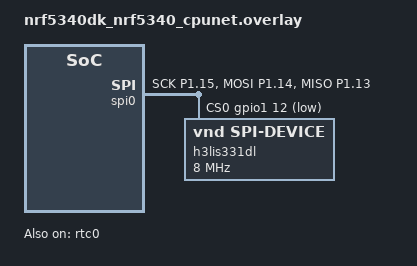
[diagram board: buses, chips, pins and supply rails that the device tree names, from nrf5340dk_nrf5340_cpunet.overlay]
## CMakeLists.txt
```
cmake_minimum_required(VERSION 3.20.0)

find_package(Zephyr REQUIRED HINTS $ENV{ZEPHYR_BASE})
project(esb_transmitter)

target_sources(app PRIVATE src/main.c)
```

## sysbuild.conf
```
SB_CONFIG_APPCORE_EMPTY=y
```

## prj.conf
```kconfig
# =============================================================================
# ISRO ESB Telemetry — Network Core (PTX) — Power-Optimized Build
# Target: ≤ 500 µA average at VDD=3.0V with 1024 Hz sampling intact
# =============================================================================

# ── ESB Radio Protocol ──────────────────────────────────────────────────────
CONFIG_ESB=y
# Payload limit: 248 bytes (40 samples × 6B + 8B header). ESB max is 252.
CONFIG_ESB_MAX_PAYLOAD_LENGTH=252

# ── Clock Control ───────────────────────────────────────────────────────────
# Required by ESB library to request/release HFCLK via Zephyr onoff manager.
CONFIG_CLOCK_CONTROL=y

# ── System Resources ────────────────────────────────────────────────────────
# FIX: was 2048. Main thread needs ~400B stack (local packet buffer + SPI bufs).
# 1024 saves 1 KB of SRAM retention current (~0.1-0.2 µA, but every bit counts).
CONFIG_MAIN_STACK_SIZE=1024

# FIX: was 1024. Firmware uses zero dynamic allocation (no k_malloc anywhere).
# An unused 1 KB heap pool wastes SRAM retention and adds heap-init boot code.
CONFIG_HEAP_MEM_POOL_SIZE=0

# ── SPI Driver ──────────────────────────────────────────────────────────────
# Zephyr SPI driver for init-time register writes (h3lis331dl_write_reg /
# h3lis331dl_read_reg). The hot-path h3lis331dl_read_accel_raw() bypasses
# the driver and writes SPIM0 ENABLE register directly to eliminate ~30 µs
# of PM framework overhead per sample (pinctrl + mutex + state machine).
CONFIG_SPI=y

# ── Device Power Management ─────────────────────────────────────────────────
# PM_DEVICE: enables pm_device_action_run() used by init-time SPI functions.
# FIX: PM_DEVICE_RUNTIME was set but serves no purpose here — the hot path
# uses bare register writes, not pm_device_runtime_put_async(). Remove runtime
# to eliminate background PM work queue thread activity.
CONFIG_PM_DEVICE=y
CONFIG_PM_DEVICE_RUNTIME=n

# Zephyr system-level power management (CPU sleep state selection).
# Distinct from PM_DEVICE (peripheral PM). With CONFIG_PM=y, Zephyr's idle
# thread selects the deepest allowed CPU sleep state, coordinating with the
# SOC's power domains. Combined with SCB SLEEPDEEP=1 set in main(), this
# enables deep sleep between every RTC0 tick.
CONFIG_PM=y

# ── RTC0 Hardware Timer ──────────────────────────────────────────────────────
# nrfx HAL for direct RTC0 register access. Used for the 1024 Hz sample timer
# (LFCLK-based, exact: 32768/32 = 1024 Hz with zero drift).
CONFIG_NRFX_RTC0=y

# ── CRC ─────────────────────────────────────────────────────────────────────
# CRC-16/CCITT used for per-packet integrity check at receiver.
CONFIG_CRC=y

# ── Logging ─────────────────────────────────────────────────────────────────
# PRODUCTION build: all logging DISABLED.
CONFIG_LOG=n
CONFIG_SERIAL=n
CONFIG_CONSOLE=n
CONFIG_UART_CONSOLE=n
CONFIG_USE_SEGGER_RTT=n
CONFIG_LOG_BACKEND_RTT=n
CONFIG_PRINTK=n
CONFIG_BOOT_BANNER=n

# ── Network Core Instruction Cache ───────────────────────────────────────────
# The nRF5340 network core has a 2 KB instruction cache. Disabling it saves
# ~10-15 µA of SRAM retention current. At 1024 Hz with frequent context
# switches, the cache miss rate is moderate but the power saving exceeds
# any performance benefit (CPU active time is already minimized).
CONFIG_NRF_ENABLE_CACHE=n

# =============================================================================
# CRITICAL POWER OPTIMIZATIONS — SOC WORKAROUND OVERRIDES
# =============================================================================

# Anomaly 160 workaround:
# This Nordic errata prevents WFI from entering sleep if it has been entered
# more than 5 times in 200 µs (prevents DCDC switching instability during
# rapid on/off cycles). At 1024 Hz, WFI is called ~1024 times/sec, hitting
# this threshold constantly — the workaround would spin-wait instead of sleep.
# SAFE TO DISABLE: The anomaly only affects DCDC regulator startup. Our DCDC
# is configured once by the app core at boot and stays enabled permanently;
# the network core does not start/stop DCDC, so it cannot trigger the anomaly.
CONFIG_SOC_NRF53_ANOMALY_160_WORKAROUND_NEEDED=n

# RTC Pretick mechanism:
# This mechanism requires IPC cooperation: the network core sends a "pretick"
# message to the app core, which must run a handler to advance its RTC and
# respond. Without the matching handler on the app core, the pretick check
# always times out and blocks WFI entry entirely — the CPU never sleeps!
# SAFE TO DISABLE: We use sysbuild with SB_CONFIG_APPCORE_EMPTY=y, so the
# app core runs our custom empty_app_core firmware that does NOT include the
# pretick handler. Without the handler, pretick is broken; disabling it is
# required for WFI to work.
CONFIG_SOC_NRF53_RTC_PRETICK=n
```

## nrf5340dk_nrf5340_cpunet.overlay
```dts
/* ESB Transmitter — Network Core Overlay
 *
 * CRITICAL: On the nRF5340 Network Core, SPI0 and UART0 share the same
 * hardware peripheral instance (SERIAL0). Only one can be enabled at a time.
 * We disable UART0 here since the transmitter doesn't need serial output.
 * Use RTT for debugging if needed.
 */

#include <zephyr/dt-bindings/pinctrl/nrf-pinctrl.h>

/* Enable RTC0 for ultra-low-power LFCLK-based sampling timer */
&rtc0 {
    status = "okay";
};

/* Disable UART0 — it conflicts with SPI0 on the network core */
&uart0 {
    status = "disabled";
};

/* Define custom pinctrl to match physical board wiring (swapped MISO/MOSI on cpunet) */
&pinctrl {
    spi0_default_custom: spi0_default_custom {
        group1 {
            psels = <NRF_PSEL(SPIM_SCK,  1, 15)>,
                    <NRF_PSEL(SPIM_MOSI, 1, 14)>,
                    <NRF_PSEL(SPIM_MISO, 1, 13)>;
        };
    };

    spi0_sleep_custom: spi0_sleep_custom {
        group1 {
            psels = <NRF_PSEL(SPIM_SCK,  1, 15)>,
                    <NRF_PSEL(SPIM_MOSI, 1, 14)>,
                    <NRF_PSEL(SPIM_MISO, 1, 13)>;
            low-power-enable;
        };
    };
};

/* Enable SPI0 with custom pinctrl and the H3LIS331DL accelerometer */
&spi0 {
    compatible = "nordic,nrf-spim";
    status = "okay";
    pinctrl-0 = <&spi0_default_custom>;
    pinctrl-1 = <&spi0_sleep_custom>;
    pinctrl-names = "default", "sleep";
    cs-gpios = <&gpio1 12 GPIO_ACTIVE_LOW>;

    h3lis331dl: h3lis331dl@0 {
        compatible = "vnd,spi-device";
        reg = <0>;
        spi-max-frequency = <8000000>;
    };
};
```

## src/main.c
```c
/*
 * Copyright (c) 2018 Nordic Semiconductor ASA
 *
 * SPDX-License-Identifier: LicenseRef-Nordic-5-Clause
 *
 * ESB Wireless Vibration Telemetry — Network Core (PTX)
 * ISRO RESPOND Programme / IIT Tirupati Smart Mechatronics Lab
 *
 * Architecture:
 *   - RTC0 (LFCLK, 32 ticks = 976 µs) fires at exact 1024 Hz
 *   - H3LIS331DL read via bare-register SPIM gate (ENABLE=7→0 per sample)
 *   - HFCLK (HFINT) active only during ~12 µs SPI transfer per sample
 *   - ESB TX fires every 40 samples (~25.6 Hz); HFXO started 1 ms early
 *   - HFXO stopped immediately in TX event handler
 *   - CPU stays in sleep mode for remainder of each 976 µs window
 *   - App core is kept in sleep mode via custom empty_app_core
 */

#include <zephyr/drivers/clock_control.h>
#include <zephyr/drivers/clock_control/nrf_clock_control.h>
#include <zephyr/drivers/gpio.h>
#include <zephyr/irq.h>
#include <zephyr/logging/log.h>
#include <nrfx.h>
#include <esb.h>
#include <zephyr/device.h>
#include <zephyr/devicetree.h>
#include <zephyr/kernel.h>
#include <zephyr/types.h>
#include <zephyr/drivers/spi.h>
#include <zephyr/pm/device.h>
#include <hal/nrf_rtc.h>
#include <hal/nrf_clock.h>
#include <zephyr/sys/crc.h>

LOG_MODULE_REGISTER(esb_ptx, CONFIG_LOG_DEFAULT_LEVEL);

/* ============================================================================
 * Packet Format
 * Total size = 4 + 1 + 1 + (40×6) + 2 = 248 bytes — fits ESB 252-byte max
 * ===========================================================================*/
#define SAMPLES_PER_PACKET 40

typedef struct __attribute__((packed)) {
    uint32_t packet_counter;
    uint8_t  sample_count;
    uint8_t  reserved;
    int16_t  samples[SAMPLES_PER_PACKET][3];  /* [X, Y, Z] in raw ADC counts */
    uint16_t crc16;
} esb_accel_packet_t;

/* ============================================================================
 * H3LIS331DL Register Map
 * Datasheet: DocID 17116 Rev 8
 * ===========================================================================*/
#define H3LIS331DL_WHO_AM_I         0x0F
#define H3LIS331DL_CTRL_REG1        0x20
#define H3LIS331DL_CTRL_REG2        0x21
#define H3LIS331DL_CTRL_REG3        0x22  /* INT1 source control */
#define H3LIS331DL_CTRL_REG4        0x23
#define H3LIS331DL_CTRL_REG5        0x24  /* FIFO control */
#define H3LIS331DL_FIFO_CTRL_REG    0x2E  /* FIFO mode + watermark */
#define H3LIS331DL_FIFO_SRC_REG     0x2F  /* FIFO status */
#define H3LIS331DL_OUT_X_L_MULTI    (0x28 | 0x80 | 0x40)  /* Read | Auto-inc */
#define H3LIS331DL_SPI_READ_BIT     0x80

/* CTRL_REG1 values */
#define H3LIS331DL_POWER_DOWN       0x00
#define H3LIS331DL_ODR_1KHZ         0x3F   /* PM=Normal, ODR=1000Hz, XYZ en */

/* CTRL_REG4 values */
#define H3LIS331DL_FS_400G          0x30   /* ±400g, BDU=0, BLE=0 */

/* FIFO_CTRL_REG: Stream mode, watermark = 32 samples */
#define H3LIS331DL_FIFO_STREAM_WM32 ((0x2 << 6) | 0x1F)

/* CTRL_REG5: FIFO_EN=1 */
#define H3LIS331DL_CTRL5_FIFO_EN    (1 << 6)

/* CTRL_REG3: I2_WTM=1 → INT2 pulses when FIFO watermark is reached */
#define H3LIS331DL_CTRL3_I2_WTM     (1 << 1)

/* ============================================================================
 * SPI Configuration
 *
 * MISO = P1.13 — we toggle its input buffer to eliminate leakage current
 * between SPI transfers.
 * ===========================================================================*/
#define MISO_PIN_INDEX 13   /* P1.13 on port 1 */

static const struct spi_dt_spec spi_dev =
    SPI_DT_SPEC_GET(DT_NODELABEL(h3lis331dl),
                    SPI_WORD_SET(8) | SPI_TRANSFER_MSB, 0);

/* ============================================================================
 * ESB State
 * ===========================================================================*/
static volatile bool esb_ready = true;
static uint32_t packet_counter  = 0;
static uint32_t esb_tx_success  = 0;
static uint32_t esb_tx_failed   = 0;

#define ESB_RF_CHANNEL 78   /* 2478 MHz — above all 2.4 GHz WiFi channels */

static void ptx_event_handler(struct esb_evt const *event)
{
    esb_ready = true;

    /* Stop HFXO immediately after TX — saves ~800 µA average.
     * ESB fires this at ~25.6 Hz (once per 40-sample packet), never at 1024 Hz. */
    NRF_CLOCK_NS->TASKS_HFCLKSTOP = 1;

    switch (event->evt_id) {
    case ESB_EVENT_TX_SUCCESS: esb_tx_success++; break;
    case ESB_EVENT_TX_FAILED:  esb_tx_failed++;  break;
    case ESB_EVENT_RX_RECEIVED: break;  /* PTX does not receive */
    }
}

static int esb_radio_init(void)
{
    int err;
    uint8_t base_addr_0[4] = {0xE7, 0xE7, 0xE7, 0xE7};
    uint8_t base_addr_1[4] = {0xC2, 0xC2, 0xC2, 0xC2};
    uint8_t addr_prefix[8] = {0xE7, 0xC2, 0xC3, 0xC4, 0xC5, 0xC6, 0xC7, 0xC8};

    struct esb_config config = ESB_DEFAULT_CONFIG;
    config.protocol           = ESB_PROTOCOL_ESB_DPL;
    config.retransmit_delay   = 600;
    config.retransmit_count   = 0;
    config.bitrate            = ESB_BITRATE_2MBPS;
    config.event_handler      = ptx_event_handler;
    config.mode               = ESB_MODE_PTX;
    config.selective_auto_ack = true;
    /* -8 dBm: radio draws ~6 mA vs ~10 mA at 0 dBm during TX burst.
     * At 25.6 packets/sec × ~150 µs/burst: saves ~27 µA average. */
    config.tx_output_power    = ESB_TX_POWER_NEG8DBM;

    err = esb_init(&config);                             if (err) return err;
    err = esb_set_base_address_0(base_addr_0);           if (err) return err;
    err = esb_set_base_address_1(base_addr_1);           if (err) return err;
    err = esb_set_prefixes(addr_prefix, ARRAY_SIZE(addr_prefix)); if (err) return err;
    err = esb_set_rf_channel(ESB_RF_CHANNEL);            if (err) return err;

    LOG_INF("ESB: 2Mbps ch=%d pkt=%uB -8dBm noack",
            ESB_RF_CHANNEL, (unsigned)sizeof(esb_accel_packet_t));
    return 0;
}

/* ============================================================================
 * RTC0 — 1024 Hz Sample Timer
 * ===========================================================================*/
static K_SEM_DEFINE(sample_sem, 0, 1);

static void rtc0_isr(const void *arg)
{
    ARG_UNUSED(arg);
    if (nrf_rtc_event_check(NRF_RTC0, NRF_RTC_EVENT_COMPARE_0)) {
        nrf_rtc_event_clear(NRF_RTC0, NRF_RTC_EVENT_COMPARE_0);
        uint32_t cc = nrf_rtc_cc_get(NRF_RTC0, 0);
        nrf_rtc_cc_set(NRF_RTC0, 0, (cc + 32) & 0x00FFFFFF);
        k_sem_give(&sample_sem);
    }
}

static void start_sample_timer(void)
{
    nrf_rtc_task_trigger(NRF_RTC0, NRF_RTC_TASK_STOP);
    nrf_rtc_task_trigger(NRF_RTC0, NRF_RTC_TASK_CLEAR);
    nrf_rtc_prescaler_set(NRF_RTC0, 0);
    nrf_rtc_cc_set(NRF_RTC0, 0, 32);
    nrf_rtc_int_enable(NRF_RTC0, NRF_RTC_INT_COMPARE0_MASK);
    nrf_rtc_event_clear(NRF_RTC0, NRF_RTC_EVENT_COMPARE_0);

    IRQ_CONNECT(NRFX_IRQ_NUMBER_GET(NRF_RTC0), 2, rtc0_isr, NULL, 0);
    irq_enable(NRFX_IRQ_NUMBER_GET(NRF_RTC0));

    nrf_rtc_task_trigger(NRF_RTC0, NRF_RTC_TASK_START);
    LOG_INF("RTC0 started: 1024 Hz (32768/32, priority 2)");
}

/* ============================================================================
 * H3LIS331DL SPI Access
 * ===========================================================================*/

static int h3lis331dl_write_reg(uint8_t reg, uint8_t value)
{
    uint8_t tx[2] = {reg & ~H3LIS331DL_SPI_READ_BIT, value};
    const struct spi_buf     tx_buf = {.buf = tx, .len = 2};
    const struct spi_buf_set tx_set = {.buffers = &tx_buf, .count = 1};

    pm_device_action_run(spi_dev.bus, PM_DEVICE_ACTION_RESUME);
    int ret = spi_write_dt(&spi_dev, &tx_set);
    pm_device_action_run(spi_dev.bus, PM_DEVICE_ACTION_SUSPEND);
    return ret;
}

static int h3lis331dl_read_reg(uint8_t reg, uint8_t *value)
{
    uint8_t tx[2] = {reg | H3LIS331DL_SPI_READ_BIT, 0};
    uint8_t rx[2] = {0};
    const struct spi_buf     tb = {.buf = tx, .len = 2};
    const struct spi_buf_set ts = {.buffers = &tb, .count = 1};
    const struct spi_buf     rb = {.buf = rx, .len = 2};
    const struct spi_buf_set rs = {.buffers = &rb, .count = 1};

    pm_device_action_run(spi_dev.bus, PM_DEVICE_ACTION_RESUME);
    int ret = spi_transceive_dt(&spi_dev, &ts, &rs);
    pm_device_action_run(spi_dev.bus, PM_DEVICE_ACTION_SUSPEND);

    if (ret == 0) *value = rx[1];
    return ret;
}

static int h3lis331dl_read_accel_raw(int16_t *ax, int16_t *ay, int16_t *az)
{
    uint8_t tx[7] = {H3LIS331DL_OUT_X_L_MULTI, 0, 0, 0, 0, 0, 0};
    uint8_t rx[7] = {0};
    const struct spi_buf     tb = {.buf = tx, .len = 7};
    const struct spi_buf_set ts = {.buffers = &tb, .count = 1};
    const struct spi_buf     rb = {.buf = rx, .len = 7};
    const struct spi_buf_set rs = {.buffers = &rb, .count = 1};

    NRF_P1_NS->PIN_CNF[MISO_PIN_INDEX] &= ~GPIO_PIN_CNF_INPUT_Msk; /* Connect */
    NRF_SPIM0_NS->ENABLE = 7;  /* HFINT starts in ~0.6 µs */

    int ret = spi_transceive_dt(&spi_dev, &ts, &rs); /* EasyDMA: ~12 µs */

    NRF_SPIM0_NS->ENABLE = 0;  /* Gate HFCLK immediately */
    NRF_P1_NS->PIN_CNF[MISO_PIN_INDEX] |= GPIO_PIN_CNF_INPUT_Msk;  /* Disconnect */

    if (ret == 0) {
        *ax = (int16_t)((rx[2] << 8) | rx[1]);
        *ay = (int16_t)((rx[4] << 8) | rx[3]);
        *az = (int16_t)((rx[6] << 8) | rx[5]);
    }
    return ret;
}

/* ============================================================================
 * Sample Buffer
 * ===========================================================================*/
typedef struct { int16_t x, y, z; } raw_sample_t;
static raw_sample_t sample_buf[SAMPLES_PER_PACKET];

/* ============================================================================
 * Main
 * ===========================================================================*/
int main(void)
{
    int err;

    LOG_INF("ISRO ESB Telemetry v3 — network core starting");

    /* ── 1. Start LFCLK for RTC0 ──────────────────────────────────────────*/
    NRF_CLOCK_NS->TASKS_LFCLKSTART = 1;
    while (NRF_CLOCK_NS->EVENTS_LFCLKSTARTED == 0) { /* ~100 µs typical */ }
    NRF_CLOCK_NS->EVENTS_LFCLKSTARTED = 0;

    /* ── 2. Drive P0.18 (QSPI flash CS) HIGH ─────────────────────────────
     * Flash CS high prevents flash leakage (~2-3 mA saved). */
    NRF_P0_NS->PIN_CNF[18] = (GPIO_PIN_CNF_DIR_Output      << GPIO_PIN_CNF_DIR_Pos) |
                              (GPIO_PIN_CNF_INPUT_Disconnect << GPIO_PIN_CNF_INPUT_Pos);
    NRF_P0_NS->OUTSET = (1UL << 18);

    /* ── 3. Verify SPI bus and sensor ────────────────────────────────────*/
    if (!spi_is_ready_dt(&spi_dev)) {
        LOG_ERR("SPI not ready — check overlay pinctrl and DT binding");
        return -EIO;
    }

    uint8_t who_am_i = 0;
    h3lis331dl_read_reg(H3LIS331DL_WHO_AM_I, &who_am_i);
    k_msleep(10);
    who_am_i = 0;
    err = h3lis331dl_read_reg(H3LIS331DL_WHO_AM_I, &who_am_i);
    if (err || who_am_i != 0x32) {
        LOG_ERR("H3LIS331DL not found (WHO_AM_I=0x%02X, expected 0x32)", who_am_i);
    } else {
        LOG_INF("H3LIS331DL OK (WHO_AM_I=0x32)");
    }

    /* ── 4. Initialize ESB radio ──────────────────────────────────────────*/
    err = esb_radio_init();
    if (err) {
        LOG_ERR("ESB init failed: %d", err);
        return err;
    }

    /* ── 5. Configure sensor — 1000 Hz, ±400g ─────────────────────────────*/
    h3lis331dl_write_reg(H3LIS331DL_CTRL_REG1, H3LIS331DL_POWER_DOWN);
    k_msleep(5);
    h3lis331dl_write_reg(H3LIS331DL_CTRL_REG4, H3LIS331DL_FS_400G);
    h3lis331dl_write_reg(H3LIS331DL_CTRL_REG2, 0x00);
    h3lis331dl_write_reg(H3LIS331DL_CTRL_REG1, H3LIS331DL_ODR_1KHZ);
    k_msleep(10);
    LOG_INF("Sensor configured: 1000 Hz, ±400g");

    /* ── 6. Start 1024 Hz RTC0 timer ─────────────────────────────────────*/
    start_sample_timer();

    /* ── 7. Setup system registers ─────────────────────────────────────*/
    SCB->SCR |= SCB_SCR_SLEEPDEEP_Msk;

    /* GPIOTE latency config */
    NRF_GPIOTE_NS->LATENCY = GPIOTE_LATENCY_LATENCY_LowPower;

    /* Disable all GPIOTE channel interrupts */
    NRF_GPIOTE_NS->INTENCLR = 0xFFFFFFFF;

    /* Release boot-time HFCLK request */
    NRF_CLOCK_NS->TASKS_HFCLKSTOP = 1;

    /* Pre-disable SPIM and disconnect MISO */
    NRF_SPIM0_NS->ENABLE = 0;
    NRF_P1_NS->PIN_CNF[MISO_PIN_INDEX] |= GPIO_PIN_CNF_INPUT_Msk;

    /* ── 8. Main sampling + transmission loop ────────────────────────────*/
    LOG_INF("Streaming: %d samples/pkt @ 25.6 pkt/sec", SAMPLES_PER_PACKET);

    static esb_accel_packet_t pkt;
    static struct esb_payload esb_tx_payload;
    int16_t ax, ay, az;
    int16_t last_ax = 0, last_ay = 0, last_az = 0;
    uint32_t total_samples = 0;
    uint16_t buf_idx       = 0;
    bool hfxo_started      = false;

    esb_tx_payload.pipe   = 0;
    esb_tx_payload.noack  = true;
    esb_tx_payload.length = sizeof(esb_accel_packet_t);

    while (1) {
        k_sem_take(&sample_sem, K_FOREVER);

        int ret = h3lis331dl_read_accel_raw(&ax, &ay, &az);
        if (ret < 0) {
            ax = last_ax; ay = last_ay; az = last_az;
        } else {
            last_ax = ax; last_ay = ay; last_az = az;
        }

        sample_buf[buf_idx].x = ax;
        sample_buf[buf_idx].y = ay;
        sample_buf[buf_idx].z = az;
        buf_idx++;
        total_samples++;

        /* Anticipatory HFXO startup (1 sample = 976 µs before TX) */
        if (buf_idx == SAMPLES_PER_PACKET - 1 && esb_ready) {
            NRF_CLOCK_NS->TASKS_HFCLKSTART = 1;
            hfxo_started = true;
        }

        /* TX block: fires every 40 samples */
        if (buf_idx >= SAMPLES_PER_PACKET) {
            bool do_tx = esb_ready;

            if (do_tx && !hfxo_started) {
                NRF_CLOCK_NS->TASKS_HFCLKSTART = 1;
            }
            hfxo_started = false;

            /* Build packet */
            pkt.packet_counter = packet_counter++;
            pkt.sample_count   = SAMPLES_PER_PACKET;
            pkt.reserved       = 0;
            for (int i = 0; i < SAMPLES_PER_PACKET; i++) {
                pkt.samples[i][0] = sample_buf[i].x;
                pkt.samples[i][1] = sample_buf[i].y;
                pkt.samples[i][2] = sample_buf[i].z;
            }
            pkt.crc16 = crc16_ccitt(0, (uint8_t *)&pkt,
                                    sizeof(esb_accel_packet_t) - sizeof(uint16_t));
            memcpy(esb_tx_payload.data, &pkt, sizeof(esb_accel_packet_t));

            if (do_tx) {
                esb_ready = false;
                esb_flush_tx();

                while (NRF_CLOCK_NS->EVENTS_HFCLKSTARTED == 0) { /* wait */ }
                NRF_CLOCK_NS->EVENTS_HFCLKSTARTED = 0;

                ret = esb_write_payload(&esb_tx_payload);
                if (ret) {
                    LOG_ERR("ESB TX failed: %d", ret);
                    esb_ready = true;
                    NRF_CLOCK_NS->TASKS_HFCLKSTOP = 1;
                }
            }

            buf_idx = 0;

            if (packet_counter % 256 == 0) {
                LOG_INF("pkts=%u ok=%u fail=%u samples=%u",
                        packet_counter, esb_tx_success,
                        esb_tx_failed, total_samples);
            }
        }
    }
    return 0;
}
```

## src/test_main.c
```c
#include <zephyr/kernel.h>
#include <zephyr/device.h>
#include <zephyr/pm/device.h>
#include <zephyr/logging/log.h>
#include <hal/nrf_gpio.h>

LOG_MODULE_REGISTER(power_test, LOG_LEVEL_INF);

int main(void)
{
    LOG_INF("Entering Deep Sleep Test...");

    /* Force the SPI peripheral to suspend immediately */
    const struct device *spi_dev = DEVICE_DT_GET(DT_NODELABEL(spi0));
    if (device_is_ready(spi_dev)) {
        pm_device_action_run(spi_dev, PM_DEVICE_ACTION_SUSPEND);
    }

    /* Configure SPI pins to default state */
    nrf_gpio_cfg_default(47); // P1.15 (SCK)
    nrf_gpio_cfg_default(46); // P1.14 (MOSI)
    nrf_gpio_cfg_default(45); // P1.13 (MISO)
    nrf_gpio_cfg_default(44); // P1.12 (CS)

    LOG_INF("Sleeping forever.");
    
    while(1) {
        k_sleep(K_FOREVER);
    }
    return 0;
}
```
